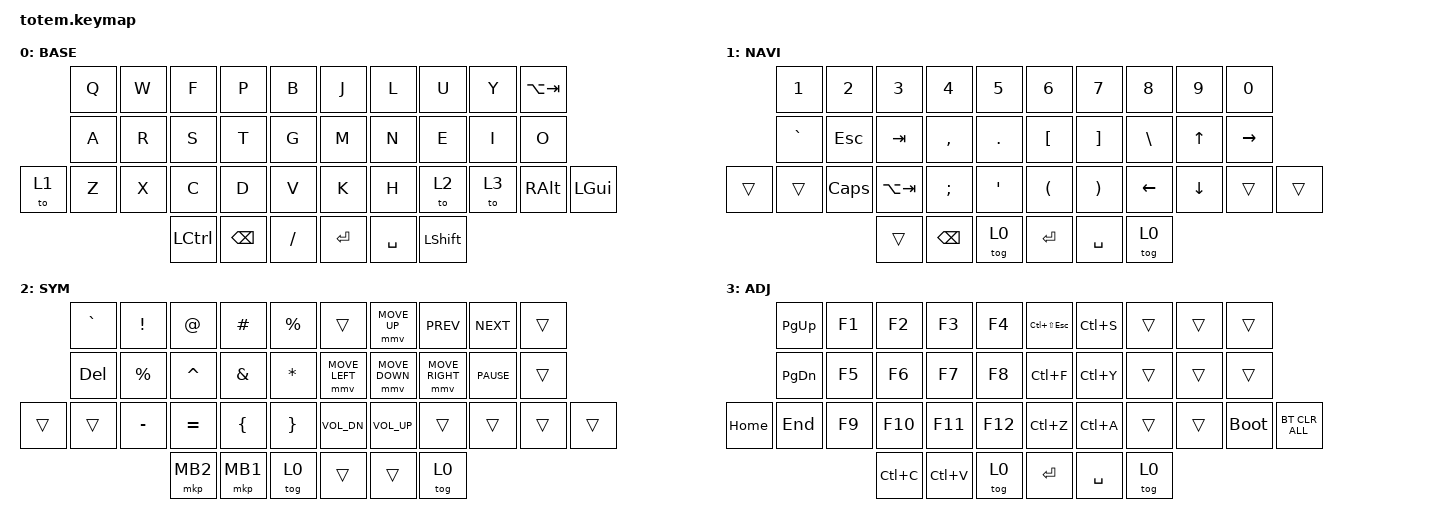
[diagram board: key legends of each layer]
//
//                                                        ▀▀▀▀▀     ▀▀▀▀▀          ▀▀█▀▀
//                                                        ▄▀▀▀▄  ▄  ▄▀▀▀▄  ▄  ▄▀▀▀▄  █  ▄▀▀▀▄
//                                                        █   █  █  █   █  █  █   █  █  █   █
//                                                         ▀▀▀   █   ▀▀▀   █   ▀▀▀   ▀   ▀▀▀
//                                                               █      ▄▄▄█▄▄▄    █   █  
//                                                               ▀      █  █  █     █▄█
//                                                             ▀▀▀▀▀    █  █  █      ▀
//                                                                      ▀  ▀  ▀
//
// ▄▄▄▄▄▄▄▄▄▄▄▄▄▄▄▄▄▄▄▄▄▄▄▄▄▄▄▄▄▄▄▄▄▄▄▄▄▄▄▄▄▄▄▄▄▄▄▄▄▄▄▄▄▄▄▄▄▄▄▄▄▄▄▄▄▄▄▄▄▄▄▄▄▄▄▄▄▄▄▄▄▄▄▄▄▄▄▄▄▄▄▄▄▄▄▄▄▄▄▄▄▄▄▄▄▄▄▄▄▄▄▄▄▄▄▄▄▄▄▄▄▄▄▄▄▄▄▄▄▄▄▄▄▄▄▄▄▄▄▄▄▄▄▄▄▄▄▄▄

#include <behaviors.dtsi>
#include <dt-bindings/zmk/bt.h>
#include <dt-bindings/zmk/keys.h>
#include <dt-bindings/zmk/pointing.h>

#define BASE 0
#define NAV  1
#define SYM  2
#define ADJ  3
#define TVP1 4
#define TVP2 5

&mt {
    quick-tap-ms = <100>;
    global-quick-tap;
    flavor = "tap-preferred";
    tapping-term-ms = <170>;
};

/ {
    combos {
        compatible = "zmk,combos";

        combo_esc {
            timeout-ms = <50>;
            key-positions = <0 1>;
            bindings = <&kp ESC>;
        };

        combo_tvp {
            timeout-ms = <100>;
            key-positions = <11 12 13>;
            bindings = <&tog 0>;
        };
    };

    macros {
        gif: gif {
            label = "giphy";
            compatible = "zmk,behavior-macro";
            #binding-cells = <0>;
            bindings =
                <&macro_press>,
                <&kp LSHFT>,
                <&macro_tap>,
                <&kp N2>,
                <&macro_release>,
                <&kp LSHFT>,
                <&macro_tap>,
                <&kp G &kp I &kp F>;
        };
    };

    keymap {
        compatible = "zmk,keymap";

        // ▄▄▄▄▄▄▄▄▄▄▄▄▄▄▄▄▄▄▄▄▄▄▄▄▄▄▄▄▄▄▄▄▄▄▄▄▄▄▄▄▄▄▄▄▄▄▄▄▄▄▄▄▄▄▄▄▄▄▄▄▄▄▄▄▄▄▄▄▄▄▄▄▄▄▄▄▄▄▄▄▄▄▄▄▄▄▄▄▄▄▄▄▄▄▄▄▄▄▄▄▄▄▄▄▄▄▄▄▄▄▄▄▄▄▄▄▄▄▄▄▄▄▄▄▄▄▄▄▄▄▄▄▄▄▄▄▄▄▄▄▄▄▄▄▄▄▄▄▄

        base_layer {
            // ┏━━━━━━━━━━━━━━━━━━━━━━━━━━━━━━━━━━━━━━━┓

            label = "BASE";

            // ┗━━━━━━━━━━━━━━━━━━━━━━━━━━━━━━━━━━━━━━━┛
            //             ┏━━━━━━━━━━━┳━━━━━━━━━━━┳━━━━━━━━━━━┳━━━━━━━━━━━┳━━━━━━━━━━━┓   ┏━━━━━━━━━━━┳━━━━━━━━━━━┳━━━━━━━━━━━┳━━━━━━━━━━━┳━━━━━━━━━━━┓
            //             ┃     Q     ┃     W     ┃     F     ┃     P     ┃     G     ┃   ┃     J     ┃     L     ┃     U     ┃     Y     ┃     ;     ┃
            //             ┣━━━━━━━━━━━╋━━━━━━━━━━━╋━━━━━━━━━━━╋━━━━━━━━━━━╋━━━━━━━━━━━┫   ┣━━━━━━━━━━━╋━━━━━━━━━━━╋━━━━━━━━━━━╋━━━━━━━━━━━╋━━━━━━━━━━━┫
            //             ┃     A     ┃     R     ┃     S     ┃     T     ┃     D     ┃   ┃     H     ┃     N     ┃     E     ┃     I     ┃     O     ┃
            // ┏━━━━━━━━━━━╋━━━━━━━━━━━╋━━━━━━━━━━━╋━━━━━━━━━━━╋━━━━━━━━━━━╋━━━━━━━━━━━┫   ┣━━━━━━━━━━━╋━━━━━━━━━━━╋━━━━━━━━━━━╋━━━━━━━━━━━╋━━━━━━━━━━━╋━━━━━━━━━━━┓
            // ┃     Q     ┃     Z     ┃     X     ┃     C     ┃     V     ┃     B     ┃   ┃     K     ┃     M     ┃     ,     ┃     .     ┃     /     ┃     \     ┃
            // ┗━━━━━━━━━━━┻━━━━━━━━━━━┻━━━━━━━━━━━╋━━━━━━━━━━━╋━━━━━━━━━━━╋━━━━━━━━━━━┫   ┣━━━━━━━━━━━╋━━━━━━━━━━━╋━━━━━━━━━━━╋━━━━━━━━━━━┻━━━━━━━━━━━┻━━━━━━━━━━━┛
            //                                     ┃    DEL    ┃    TAB    ┃    SPC    ┃   ┃   ENTER   ┃           ┃   BSPC    ┃
            //                                     ┗━━━━━━━━━━━┻━━━━━━━━━━━┻━━━━━━━━━━━┛   ┗━━━━━━━━━━━┻━━━━━━━━━━━┻━━━━━━━━━━━┛

            bindings = <
       &kp Q  &kp W  &kp F             &kp P     &kp B        &kp J    &kp L      &kp U           &kp Y  &kp LA(TAB)
       &kp A  &kp R  &kp S             &kp T     &kp G        &kp M    &kp N      &kp E           &kp I  &kp O
&to 1  &kp Z  &kp X  &kp C             &kp D     &kp V        &kp K    &kp H      &to 2           &to 3  &kp RIGHT_ALT  &kp LGUI
                     &kp LEFT_CONTROL  &kp BSPC  &kp SLASH    &kp RET  &kp SPACE  &kp LEFT_SHIFT
            >;
        };

        // ▄▄▄▄▄▄▄▄▄▄▄▄▄▄▄▄▄▄▄▄▄▄▄▄▄▄▄▄▄▄▄▄▄▄▄▄▄▄▄▄▄▄▄▄▄▄▄▄▄▄▄▄▄▄▄▄▄▄▄▄▄▄▄▄▄▄▄▄▄▄▄▄▄▄▄▄▄▄▄▄▄▄▄▄▄▄▄▄▄▄▄▄▄▄▄▄▄▄▄▄▄▄▄▄▄▄▄▄▄▄▄▄▄▄▄▄▄▄▄▄▄▄▄▄▄▄▄▄▄▄▄▄▄▄▄▄▄▄▄▄▄▄▄▄▄▄▄▄▄

        num_layer {
            // ┏━━━━━━━━━━━━━━━━━━━━━━━━━━━━━━━━━━━━━━━┓

            label = "NAVI";

            // ┗━━━━━━━━━━━━━━━━━━━━━━━━━━━━━━━━━━━━━━━┛
            //             ┏━━━━━━━━━━━┳━━━━━━━━━━━┳━━━━━━━━━━━┳━━━━━━━━━━━┳━━━━━━━━━━━┓   ┏━━━━━━━━━━━┳━━━━━━━━━━━┳━━━━━━━━━━━┳━━━━━━━━━━━┳━━━━━━━━━━━┓
            //             ┃           ┃           ┃     UP    ┃           ┃     {     ┃   ┃     }     ┃     7     ┃     8     ┃     9     ┃     +     ┃
            //             ┣━━━━━━━━━━━╋━━━━━━━━━━━╋━━━━━━━━━━━╋━━━━━━━━━━━╋━━━━━━━━━━━┫   ┣━━━━━━━━━━━╋━━━━━━━━━━━╋━━━━━━━━━━━╋━━━━━━━━━━━╋━━━━━━━━━━━┫
            //             ┃   SHIFT   ┃   LEFT    ┃    DOWN   ┃   RIGHT   ┃     [     ┃   ┃     ]     ┃     4     ┃     5     ┃     6     ┃     -     ┃
            // ┏━━━━━━━━━━━╋━━━━━━━━━━━╋━━━━━━━━━━━╋━━━━━━━━━━━╋━━━━━━━━━━━╋━━━━━━━━━━━┫   ┣━━━━━━━━━━━╋━━━━━━━━━━━╋━━━━━━━━━━━╋━━━━━━━━━━━╋━━━━━━━━━━━╋━━━━━━━━━━━┓
            // ┃           ┃           ┃   P UP    ┃  C LOCK   ┃  P DOWN   ┃     (     ┃   ┃     )     ┃     1     ┃     2     ┃     3     ┃     *     ┃           ┃
            // ┗━━━━━━━━━━━┻━━━━━━━━━━━┻━━━━━━━━━━━╋━━━━━━━━━━━╋━━━━━━━━━━━╋━━━━━━━━━━━┫   ┣━━━━━━━━━━━╋━━━━━━━━━━━╋━━━━━━━━━━━╋━━━━━━━━━━━┻━━━━━━━━━━━┻━━━━━━━━━━━┛
            //                                     ┃           ┃    TAB    ┃    SPC    ┃   ┃    DEL    ┃     0     ┃           ┃
            //                                     ┗━━━━━━━━━━━┻━━━━━━━━━━━┻━━━━━━━━━━━┛   ┗━━━━━━━━━━━┻━━━━━━━━━━━┻━━━━━━━━━━━┛

            bindings = <
        &kp N1     &kp N2        &kp N3       &kp N4     &kp N5     &kp N6                &kp N7                 &kp N8          &kp N9          &kp N0
        &kp GRAVE  &kp ESC       &kp TAB      &kp COMMA  &kp DOT    &kp LBKT              &kp RBKT               &kp BACKSLASH   &kp UP_ARROW    &kp RIGHT_ARROW
&trans  &trans     &kp CAPSLOCK  &kp LA(TAB)  &kp SEMI   &kp SQT    &kp LEFT_PARENTHESIS  &kp RIGHT_PARENTHESIS  &kp LEFT_ARROW  &kp DOWN_ARROW  &trans           &trans
                                 &trans       &kp BSPC   &tog 0     &kp RET               &kp SPACE              &tog 0
            >;
        };

        // ▄▄▄▄▄▄▄▄▄▄▄▄▄▄▄▄▄▄▄▄▄▄▄▄▄▄▄▄▄▄▄▄▄▄▄▄▄▄▄▄▄▄▄▄▄▄▄▄▄▄▄▄▄▄▄▄▄▄▄▄▄▄▄▄▄▄▄▄▄▄▄▄▄▄▄▄▄▄▄▄▄▄▄▄▄▄▄▄▄▄▄▄▄▄▄▄▄▄▄▄▄▄▄▄▄▄▄▄▄▄▄▄▄▄▄▄▄▄▄▄▄▄▄▄▄▄▄▄▄▄▄▄▄▄▄▄▄▄▄▄▄▄▄▄▄▄▄▄▄

        symbol_layer {
            // ┏━━━━━━━━━━━━━━━━━━━━━━━━━━━━━━━━━━━━━━━┓

            label = "SYM";

            // ┗━━━━━━━━━━━━━━━━━━━━━━━━━━━━━━━━━━━━━━━┛
            //             ┏━━━━━━━━━━━┳━━━━━━━━━━━┳━━━━━━━━━━━┳━━━━━━━━━━━┳━━━━━━━━━━━┓   ┏━━━━━━━━━━━┳━━━━━━━━━━━┳━━━━━━━━━━━┳━━━━━━━━━━━┳━━━━━━━━━━━┓
            //             ┃     !     ┃     @     ┃     #     ┃     $     ┃     %     ┃   ┃     ˆ     ┃     &     ┃     Ü     ┃     '     ┃     "     ┃
            //             ┣━━━━━━━━━━━╋━━━━━━━━━━━╋━━━━━━━━━━━╋━━━━━━━━━━━╋━━━━━━━━━━━┫   ┣━━━━━━━━━━━╋━━━━━━━━━━━╋━━━━━━━━━━━╋━━━━━━━━━━━╋━━━━━━━━━━━┫
            //             ┃     Ä     ┃           ┃    SZ     ┃           ┃           ┃   ┃   MUTE    ┃   YEN     ┃   EURO    ┃  POUND    ┃     Ö     ┃
            // ┏━━━━━━━━━━━╋━━━━━━━━━━━╋━━━━━━━━━━━╋━━━━━━━━━━━╋━━━━━━━━━━━╋━━━━━━━━━━━┫   ┣━━━━━━━━━━━╋━━━━━━━━━━━╋━━━━━━━━━━━╋━━━━━━━━━━━╋━━━━━━━━━━━╋━━━━━━━━━━━┓
            // ┃           ┃  EMAIL1   ┃  EMAIL2   ┃           ┃           ┃           ┃   ┃   VOL-    ┃   VOL+    ┃   LAST    ┃   NEXT    ┃     \     ┃           ┃
            // ┗━━━━━━━━━━━┻━━━━━━━━━━━┻━━━━━━━━━━━╋━━━━━━━━━━━╋━━━━━━━━━━━╋━━━━━━━━━━━┫   ┣━━━━━━━━━━━╋━━━━━━━━━━━╋━━━━━━━━━━━╋━━━━━━━━━━━┻━━━━━━━━━━━┻━━━━━━━━━━━┛
            //                                     ┃           ┃    GIF    ┃    ADJ    ┃   ┃           ┃           ┃           ┃
            //                                     ┗━━━━━━━━━━━┻━━━━━━━━━━━┻━━━━━━━━━━━┛   ┗━━━━━━━━━━━┻━━━━━━━━━━━┻━━━━━━━━━━━┛

            bindings = <
        &kp GRAVE  &kp EXCLAMATION  &kp AT_SIGN  &kp HASH        &kp PERCENT        &trans          &mmv MOVE_UP    &kp C_PREV       &kp C_NEXT   &trans
        &kp DEL    &kp PERCENT      &kp CARET    &kp AMPERSAND   &kp ASTERISK       &mmv MOVE_LEFT  &mmv MOVE_DOWN  &mmv MOVE_RIGHT  &kp C_PAUSE  &trans
&trans  &trans     &kp MINUS        &kp EQUAL    &kp LEFT_BRACE  &kp RIGHT_BRACE    &kp C_VOL_DN    &kp C_VOL_UP    &trans           &trans       &trans  &trans
                                    &mkp MB2     &mkp MB1        &tog 0             &trans          &trans          &tog 0
            >;
        };

        // ▄▄▄▄▄▄▄▄▄▄▄▄▄▄▄▄▄▄▄▄▄▄▄▄▄▄▄▄▄▄▄▄▄▄▄▄▄▄▄▄▄▄▄▄▄▄▄▄▄▄▄▄▄▄▄▄▄▄▄▄▄▄▄▄▄▄▄▄▄▄▄▄▄▄▄▄▄▄▄▄▄▄▄▄▄▄▄▄▄▄▄▄▄▄▄▄▄▄▄▄▄▄▄▄▄▄▄▄▄▄▄▄▄▄▄▄▄▄▄▄▄▄▄▄▄▄▄▄▄▄▄▄▄▄▄▄▄▄▄▄▄▄▄▄▄▄▄▄▄

        fn_layer {
            // ┏━━━━━━━━━━━━━━━━━━━━━━━━━━━━━━━━━━━━━━━┓

            label = "ADJ";

            // ┗━━━━━━━━━━━━━━━━━━━━━━━━━━━━━━━━━━━━━━━┛
            //             ┏━━━━━━━━━━━┳━━━━━━━━━━━┳━━━━━━━━━━━┳━━━━━━━━━━━┳━━━━━━━━━━━┓   ┏━━━━━━━━━━━┳━━━━━━━━━━━┳━━━━━━━━━━━┳━━━━━━━━━━━┳━━━━━━━━━━━┓
            //             ┃   RESET   ┃ BT CLEAR  ┃  OUT TOG  ┃           ┃           ┃   ┃           ┃    F7     ┃    F8     ┃    F9     ┃    F12    ┃
            //             ┣━━━━━━━━━━━╋━━━━━━━━━━━╋━━━━━━━━━━━╋━━━━━━━━━━━╋━━━━━━━━━━━┫   ┣━━━━━━━━━━━╋━━━━━━━━━━━╋━━━━━━━━━━━╋━━━━━━━━━━━╋━━━━━━━━━━━┫
            //             ┃ BOOTLOAD  ┃ BT NEXT   ┃           ┃           ┃           ┃   ┃           ┃    F4     ┃    F5     ┃    F6     ┃    F11    ┃
            // ┏━━━━━━━━━━━╋━━━━━━━━━━━╋━━━━━━━━━━━╋━━━━━━━━━━━╋━━━━━━━━━━━╋━━━━━━━━━━━┫   ┣━━━━━━━━━━━╋━━━━━━━━━━━╋━━━━━━━━━━━╋━━━━━━━━━━━╋━━━━━━━━━━━╋━━━━━━━━━━━┓
            // ┃           ┃           ┃ BT PREV   ┃           ┃           ┃           ┃   ┃           ┃    F1     ┃    F2     ┃    F3     ┃    F10    ┃           ┃
            // ┗━━━━━━━━━━━┻━━━━━━━━━━━┻━━━━━━━━━━━╋━━━━━━━━━━━╋━━━━━━━━━━━╋━━━━━━━━━━━┫   ┣━━━━━━━━━━━╋━━━━━━━━━━━╋━━━━━━━━━━━╋━━━━━━━━━━━┻━━━━━━━━━━━┻━━━━━━━━━━━┛
            //                                     ┃           ┃           ┃           ┃   ┃           ┃           ┃           ┃
            //                                     ┗━━━━━━━━━━━┻━━━━━━━━━━━┻━━━━━━━━━━━┛   ┗━━━━━━━━━━━┻━━━━━━━━━━━┻━━━━━━━━━━━┛

            bindings = <
          &kp PAGE_UP    &kp F1  &kp F2     &kp F3     &kp F4     &kp LC(LS(ESC))  &kp LC(S)  &trans  &trans  &trans
          &kp PAGE_DOWN  &kp F5  &kp F6     &kp F7     &kp F8     &kp LC(F)        &kp LC(Y)  &trans  &trans  &trans
&kp HOME  &kp END        &kp F9  &kp F10    &kp F11    &kp F12    &kp LC(Z)        &kp LC(A)  &trans  &trans  &bootloader  &bt BT_CLR_ALL
                                 &kp LC(C)  &kp LC(V)  &tog 0     &kp RET          &kp SPACE  &tog 0
            >;
        };

        // ▄▄▄▄▄▄▄▄▄▄▄▄▄▄▄▄▄▄▄▄▄▄▄▄▄▄▄▄▄▄▄▄▄▄▄▄▄▄▄▄▄▄▄▄▄▄▄▄▄▄▄▄▄▄▄▄▄▄▄▄▄▄▄▄▄▄▄▄▄▄▄▄▄▄▄▄▄▄▄▄▄▄▄▄▄▄▄▄▄▄▄▄▄▄▄▄▄▄▄▄▄▄▄▄▄▄▄▄▄▄▄▄▄▄▄▄▄▄▄▄▄▄▄▄▄▄▄▄▄▄▄▄▄▄▄▄▄▄▄▄▄▄▄▄▄▄▄▄▄
        // ▄▄▄▄▄▄▄▄▄▄▄▄▄▄▄▄▄▄▄▄▄▄▄▄▄▄▄▄▄▄▄▄▄▄▄▄▄▄▄▄▄▄▄▄▄▄▄▄▄▄▄▄▄▄▄▄▄▄▄▄▄▄▄▄▄▄▄▄▄▄▄▄▄▄▄▄▄▄▄▄▄▄▄▄▄▄▄▄▄▄▄▄▄▄▄▄▄▄▄▄▄▄▄▄▄▄▄▄▄▄▄▄▄▄▄▄▄▄▄▄▄▄▄▄▄▄▄▄▄▄▄▄▄▄▄▄▄▄▄▄▄▄▄▄▄▄▄▄▄
    };
};
